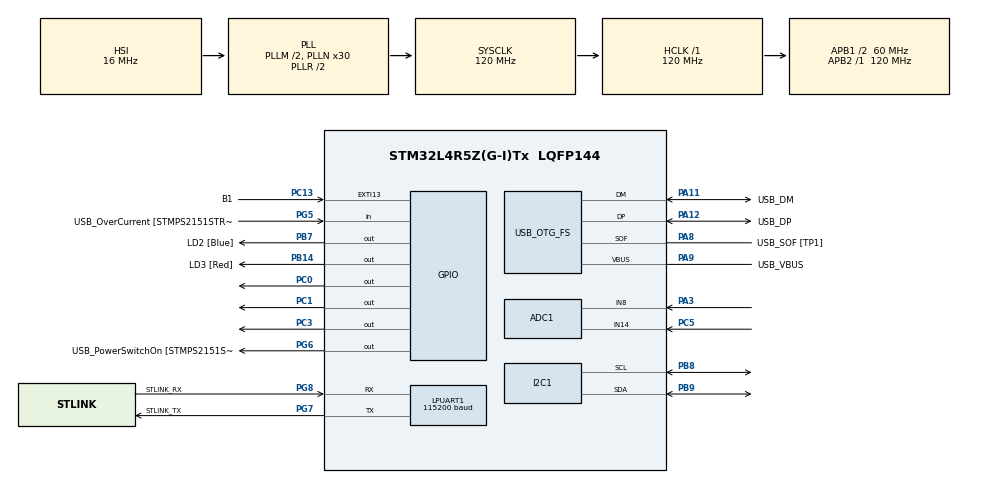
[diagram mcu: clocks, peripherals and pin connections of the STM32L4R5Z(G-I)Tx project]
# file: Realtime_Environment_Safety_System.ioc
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ADC1.Channel-0\#ChannelRegularConversion=ADC_CHANNEL_14
ADC1.Channel-1\#ChannelRegularConversion=ADC_CHANNEL_8
ADC1.ContinuousConvMode=ENABLE
ADC1.DMAContinuousRequests=DISABLE
ADC1.NbrOfConversion=2
ADC1.NbrOfConversionFlag=1
ADC1.OffsetNumber-1\#ChannelRegularConversion=ADC_OFFSET_NONE
ADC1.Rank-1\#ChannelRegularConversion=2
ADC1.SamplingTime-1\#ChannelRegularConversion=ADC_SAMPLETIME_2CYCLES_5
ADC1.master=1
FREERTOS.BinarySemaphores01=Binary_Semaphore,Dynamic,NULL
FREERTOS.INCLUDE_vTaskDelayUntil=1
FREERTOS.Tasks01=readAudioSensor,3,128,readAudioSensor_EF,Default,NULL,Dynamic,NULL,NULL;feedbackDevices,0,128,feedbackDevices_EF,Default,NULL,Dynamic,NULL,NULL;lcdOutput,0,128,lcdOutput_EF,Default,NULL,Dynamic,NULL,NULL;readUVSensor,3,128,readUVSensor_EF,Default,NULL,Dynamic,NULL,NULL
FREERTOS.configUSE_NEWLIB_REENTRANT=1
I2C1.Timing=0x107075B0
LPUART1.BaudRate=115200
LPUART1.WordLength=UART_WORDLENGTH_8B
Mcu.Family=STM32L4
Mcu.Name=STM32L4R5Z(G-I)Tx
Mcu.Package=LQFP144
NVIC.PriorityGroup=NVIC_PRIORITYGROUP_4
NVIC.TIM1_UP_TIM16_IRQn=true\:15\:0\:false\:false\:true\:false\:false\:true\:true
NVIC.TimeBase=TIM1_UP_TIM16_IRQn
NVIC.TimeBaseIP=TIM1
PA10.GPIO_Label=USB_ID
PA10.Signal=USB_OTG_FS_ID
PA11.GPIO_Label=USB_DM
PA11.Mode=Device_Only
PA11.Signal=USB_OTG_FS_DM
PA12.GPIO_Label=USB_DP
PA12.Mode=Device_Only
PA12.Signal=USB_OTG_FS_DP
PA13\ (JTMS/SWDIO).GPIO_Label=TMS
PA13\ (JTMS/SWDIO).Mode=Trace_Asynchronous_SW
PA13\ (JTMS/SWDIO).Signal=SYS_JTMS-SWDIO
PA14\ (JTCK/SWCLK).GPIO_Label=TCK
PA14\ (JTCK/SWCLK).Mode=Trace_Asynchronous_SW
PA14\ (JTCK/SWCLK).Signal=SYS_JTCK-SWCLK
PA3.Signal=ADCx_IN8
PA8.GPIO_Label=USB_SOF [TP1]
PA8.Mode=Activate_SOF_FS
PA8.Signal=USB_OTG_FS_SOF
PA9.GPIO_Label=USB_VBUS
PA9.Mode=Activate_VBUS
PA9.Signal=USB_OTG_FS_VBUS
PB14.GPIO_Label=LD3 [Red]
PB14.Signal=GPIO_Output
PB3\ (JTDO/TRACESWO).GPIO_Label=SWO
PB3\ (JTDO/TRACESWO).Mode=Trace_Asynchronous_SW
PB3\ (JTDO/TRACESWO).Signal=SYS_JTDO-SWO
PB7.GPIO_Label=LD2 [Blue]
PB7.Signal=GPIO_Output
PB8.Mode=I2C
PB8.Signal=I2C1_SCL
PB9.Mode=I2C
PB9.Signal=I2C1_SDA
PC0.Signal=GPIO_Output
PC1.Signal=GPIO_Output
PC13.GPIO_Label=B1
PC13.Signal=GPXTI13
PC14-OSC32_IN\ (PC14).Mode=LSE-External-Oscillator
PC14-OSC32_IN\ (PC14).Signal=RCC_OSC32_IN
PC15-OSC32_OUT\ (PC15).Mode=LSE-External-Oscillator
PC15-OSC32_OUT\ (PC15).Signal=RCC_OSC32_OUT
PC3.Signal=GPIO_Output
PC5.Signal=ADCx_IN14
PD8.GPIO_Label=STLK_RX [STM32F103CBT6_PA3]
PD8.Signal=USART3_TX
PD9.GPIO_Label=STLK_TX [STM32F103CBT6_PA2]
PD9.Signal=USART3_RX
PG5.GPIO_Label=USB_OverCurrent [STMPS2151STR_FAULT]
PG5.Signal=GPIO_Input
PG6.GPIO_Label=USB_PowerSwitchOn [STMPS2151STR_EN]
PG6.Signal=GPIO_Output
PG7.GPIO_Label=STLINK_TX
PG7.Mode=Asynchronous
PG7.Signal=LPUART1_TX
PG8.GPIO_Label=STLINK_RX
PG8.Mode=Asynchronous
PG8.Signal=LPUART1_RX
PH0-OSC_IN\ (PH0).Signal=RCC_OSC_IN
PH1-OSC_OUT\ (PH1).Signal=RCC_OSC_OUT
ProjectManager.HeapSize=0x200
ProjectManager.StackSize=0x400
ProjectManager.TargetToolchain=STM32CubeIDE
RCC.48MHZClocksFreq_Value=24000000
RCC.ADCFreq_Value=96000000
RCC.AHBFreq_Value=120000000
RCC.APB1CLKDivider=RCC_HCLK_DIV2
RCC.APB1Freq_Value=60000000
RCC.APB1TimFreq_Value=120000000
RCC.APB2Freq_Value=120000000
RCC.APB2TimFreq_Value=120000000
RCC.CK48CLockSelection=RCC_USBCLKSOURCE_HSI48
RCC.CortexFreq_Value=120000000
RCC.HCLKFreq_Value=120000000
RCC.HSE_VALUE=8000000
RCC.HSI48_VALUE=48000000
RCC.HSI_VALUE=16000000
RCC.MSI_VALUE=4000000
RCC.PLLM1=2
RCC.PLLMUL=RCC_PLL_MUL9
RCC.PLLN=30
RCC.PLLSAI1N=12
RCC.PLLSourceVirtual=RCC_PLLSOURCE_HSI
RCC.PRESCALERUSB=RCC_USBCLKSOURCE_PLL_DIV1_5
RCC.SYSCLKFreq_VALUE=120000000
RCC.SYSCLKSource=RCC_SYSCLKSOURCE_PLLCLK
RCC.SYSCLKSourceVirtual=RCC_SYSCLKSOURCE_PLLCLK
RCC.USBFreq_Value=48000000
RCC.VCOOutputFreq_Value=240000000
SH.ADCx_IN14.0=ADC1_IN14,IN14-Single-Ended
SH.ADCx_IN8.0=ADC1_IN8,IN8-Single-Ended
USB_OTG_FS.VirtualMode=Device_Only
VP_FREERTOS_VS_CMSIS_V1.Mode=CMSIS_V1
VP_SYS_VS_tim1.Mode=TIM1
board=NUCLEO-L4R5ZI

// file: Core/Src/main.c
/* USER CODE BEGIN Header */
/**
  ******************************************************************************
  * @author			: Christopher Saji
  * @file           : main.c
  * @brief          : Main program body
  ******************************************************************************
  * @attention
  *
  * Copyright (c) 2023 STMicroelectronics.
  * All rights reserved.
  *
  * This software is licensed under terms that can be found in the LICENSE file
  * in the root directory of this software component.
  * If no LICENSE file comes with this software, it is provided AS-IS.
  *
  ******************************************************************************
  *	@materials
  *
  *	STM32 NUCLEO-L4R5ZI
  *
  *	SparkFun Sound Detector
  *
  *	UVM-30A
  *
  *	Vibration Motor
  *
  *	2x LED
  *
  *	2x 220 OHM Resistors
  *
  *	1602 LCD Display
  *
  *	Breadboard
  *
  *	2.54mm Dupont Jumper Cables
  *
  */
/* USER CODE END Header */
#include "main.h"
#include "cmsis_os.h"
/* USER CODE BEGIN Includes */
#include <string.h>
#include <i2c-lcd.h>
#include <stdio.h>
#include <stdlib.h>
/* USER CODE END Includes */

ADC_HandleTypeDef hadc1;

I2C_HandleTypeDef hi2c1;

UART_HandleTypeDef hlpuart1;

PCD_HandleTypeDef hpcd_USB_OTG_FS;

osThreadId readAudioSensorHandle;
osThreadId feedbackDevicesHandle;
osThreadId lcdOutputHandle;
osThreadId readUVSensorHandle;
osSemaphoreId Binary_SemaphoreHandle;
/* USER CODE BEGIN PV */

uint32_t audio_raw;
uint32_t uv_raw;

uint8_t audio_str[20];
uint8_t uv_str[20];

int db_current;
int uv_current;

float uv_voltage;

/* USER CODE END PV */

void SystemClock_Config(void);
static void MX_GPIO_Init(void);
static void MX_LPUART1_UART_Init(void);
static void MX_USB_OTG_FS_PCD_Init(void);
static void MX_ADC1_Init(void);
static void MX_I2C1_Init(void);
void readAudioSensor_EF(void const * argument);
void feedbackDevices_EF(void const * argument);
void lcdOutput_EF(void const * argument);
void readUVSensor_EF(void const * argument);

/* USER CODE BEGIN PFP */

void ADC_Select_CH8(void);
void ADC_Select_CH14(void);

/* USER CODE END PFP */

int main(void)
{

  /* MCU Configuration--------------------------------------------------------*/

  /* Reset of all peripherals, Initializes the Flash interface and the Systick. */
  HAL_Init();

  /* Configure the system clock */
  SystemClock_Config();

  /* Initialize all configured peripherals */
  MX_GPIO_Init();
  MX_LPUART1_UART_Init();
  MX_USB_OTG_FS_PCD_Init();
  MX_ADC1_Init();
  MX_I2C1_Init();
  /* USER CODE BEGIN 2 */

  lcd_init();			// Initialize LCD and bring cursor to home
  lcd_clear();
  lcd_put_cur(0,0);

  HAL_ADCEx_Calibration_Start(&hadc1, ADC_SINGLE_ENDED);		// Calibrate ADC for better accuracy

  /* USER CODE END 2 */

  /* Create the semaphores(s) */
  /* definition and creation of Binary_Semaphore */
  osSemaphoreDef(Binary_Semaphore);
  Binary_SemaphoreHandle = osSemaphoreCreate(osSemaphore(Binary_Semaphore), 1);

  /* Create the thread(s) */
  /* definition and creation of readAudioSensor */
  osThreadDef(readAudioSensor, readAudioSensor_EF, osPriorityRealtime, 0, 128);
  readAudioSensorHandle = osThreadCreate(osThread(readAudioSensor), NULL);

  /* definition and creation of feedbackDevices */
  osThreadDef(feedbackDevices, feedbackDevices_EF, osPriorityNormal, 0, 128);
  feedbackDevicesHandle = osThreadCreate(osThread(feedbackDevices), NULL);

  /* definition and creation of lcdOutput */
  osThreadDef(lcdOutput, lcdOutput_EF, osPriorityNormal, 0, 128);
  lcdOutputHandle = osThreadCreate(osThread(lcdOutput), NULL);

  /* definition and creation of readUVSensor */
  osThreadDef(readUVSensor, readUVSensor_EF, osPriorityRealtime, 0, 128);
  readUVSensorHandle = osThreadCreate(osThread(readUVSensor), NULL);

  /* Start scheduler */
  osKernelStart();

  /* We should never get here as control is now taken by the scheduler */
  /* Infinite loop */
  while (1)
  {

  }
}

void SystemClock_Config(void)
{
  RCC_OscInitTypeDef RCC_OscInitStruct = {0};
  RCC_ClkInitTypeDef RCC_ClkInitStruct = {0};

  /** Configure the main internal regulator output voltage
  */
  if (HAL_PWREx_ControlVoltageScaling(PWR_REGULATOR_VOLTAGE_SCALE1_BOOST) != HAL_OK)
  {
    Error_Handler();
  }

  /** Initializes the RCC Oscillators according to the specified parameters
  * in the RCC_OscInitTypeDef structure.
  */
  RCC_OscInitStruct.OscillatorType = RCC_OSCILLATORTYPE_HSI48|RCC_OSCILLATORTYPE_HSI;
  RCC_OscInitStruct.HSIState = RCC_HSI_ON;
  RCC_OscInitStruct.HSI48State = RCC_HSI48_ON;
  RCC_OscInitStruct.HSICalibrationValue = RCC_HSICALIBRATION_DEFAULT;
  RCC_OscInitStruct.PLL.PLLState = RCC_PLL_ON;
  RCC_OscInitStruct.PLL.PLLSource = RCC_PLLSOURCE_HSI;
  RCC_OscInitStruct.PLL.PLLM = 2;
  RCC_OscInitStruct.PLL.PLLN = 30;
  RCC_OscInitStruct.PLL.PLLP = RCC_PLLP_DIV2;
  RCC_OscInitStruct.PLL.PLLQ = RCC_PLLQ_DIV2;
  RCC_OscInitStruct.PLL.PLLR = RCC_PLLR_DIV2;
  if (HAL_RCC_OscConfig(&RCC_OscInitStruct) != HAL_OK)
  {
    Error_Handler();
  }

  /** Initializes the CPU, AHB and APB buses clocks
  */
  RCC_ClkInitStruct.ClockType = RCC_CLOCKTYPE_HCLK|RCC_CLOCKTYPE_SYSCLK
                              |RCC_CLOCKTYPE_PCLK1|RCC_CLOCKTYPE_PCLK2;
  RCC_ClkInitStruct.SYSCLKSource = RCC_SYSCLKSOURCE_PLLCLK;
  RCC_ClkInitStruct.AHBCLKDivider = RCC_SYSCLK_DIV1;
  RCC_ClkInitStruct.APB1CLKDivider = RCC_HCLK_DIV2;
  RCC_ClkInitStruct.APB2CLKDivider = RCC_HCLK_DIV1;

  if (HAL_RCC_ClockConfig(&RCC_ClkInitStruct, FLASH_LATENCY_5) != HAL_OK)
  {
    Error_Handler();
  }
}

static void MX_ADC1_Init(void)
{

  ADC_ChannelConfTypeDef sConfig = {0};

  /** Common config
  */
  hadc1.Instance = ADC1;
  hadc1.Init.ClockPrescaler = ADC_CLOCK_ASYNC_DIV2;
  hadc1.Init.Resolution = ADC_RESOLUTION_12B;
  hadc1.Init.DataAlign = ADC_DATAALIGN_RIGHT;
  hadc1.Init.ScanConvMode = ADC_SCAN_ENABLE;
  hadc1.Init.EOCSelection = ADC_EOC_SINGLE_CONV;
  hadc1.Init.LowPowerAutoWait = DISABLE;
  hadc1.Init.ContinuousConvMode = ENABLE;
  hadc1.Init.NbrOfConversion = 1;
  hadc1.Init.DiscontinuousConvMode = DISABLE;
  hadc1.Init.ExternalTrigConv = ADC_SOFTWARE_START;
  hadc1.Init.ExternalTrigConvEdge = ADC_EXTERNALTRIGCONVEDGE_NONE;
  hadc1.Init.DMAContinuousRequests = DISABLE;
  hadc1.Init.Overrun = ADC_OVR_DATA_PRESERVED;
  hadc1.Init.OversamplingMode = DISABLE;
  if (HAL_ADC_Init(&hadc1) != HAL_OK)
  {
    Error_Handler();
  }

  /** Configure Regular Channel
  */
//  sConfig.Channel = ADC_CHANNEL_14;
//  sConfig.Rank = ADC_REGULAR_RANK_1;
//  sConfig.SamplingTime = ADC_SAMPLETIME_2CYCLES_5;
//  sConfig.SingleDiff = ADC_SINGLE_ENDED;
//  sConfig.OffsetNumber = ADC_OFFSET_NONE;
//  sConfig.Offset = 0;
//  if (HAL_ADC_ConfigChannel(&hadc1, &sConfig) != HAL_OK)
//  {
//    Error_Handler();
//  }
//
//  /** Configure Regular Channel
//  */
//  sConfig.Channel = ADC_CHANNEL_8;
//  sConfig.Rank = ADC_REGULAR_RANK_2;
//  if (HAL_ADC_ConfigChannel(&hadc1, &sConfig) != HAL_OK)
//  {
//    Error_Handler();
//  }
  /* USER CODE BEGIN ADC1_Init 2 */

  /*
   * Make sure to comment out the configure regular channel for both channels
   * and to change hadc1.Init.NbrOfConversion from 2 to 1. This is so the threads
   * can configure each ADC channel individually.
  */

  /* USER CODE END ADC1_Init 2 */

}

static void MX_I2C1_Init(void)
{

  hi2c1.Instance = I2C1;
  hi2c1.Init.Timing = 0x107075B0;
  hi2c1.Init.OwnAddress1 = 0;
  hi2c1.Init.AddressingMode = I2C_ADDRESSINGMODE_7BIT;
  hi2c1.Init.DualAddressMode = I2C_DUALADDRESS_DISABLE;
  hi2c1.Init.OwnAddress2 = 0;
  hi2c1.Init.OwnAddress2Masks = I2C_OA2_NOMASK;
  hi2c1.Init.GeneralCallMode = I2C_GENERALCALL_DISABLE;
  hi2c1.Init.NoStretchMode = I2C_NOSTRETCH_DISABLE;
  if (HAL_I2C_Init(&hi2c1) != HAL_OK)
  {
    Error_Handler();
  }

  /** Configure Analogue filter
  */
  if (HAL_I2CEx_ConfigAnalogFilter(&hi2c1, I2C_ANALOGFILTER_ENABLE) != HAL_OK)
  {
    Error_Handler();
  }

  /** Configure Digital filter
  */
  if (HAL_I2CEx_ConfigDigitalFilter(&hi2c1, 0) != HAL_OK)
  {
    Error_Handler();
  }

}

static void MX_LPUART1_UART_Init(void)
{

  hlpuart1.Instance = LPUART1;
  hlpuart1.Init.BaudRate = 115200;
  hlpuart1.Init.WordLength = UART_WORDLENGTH_8B;
  hlpuart1.Init.StopBits = UART_STOPBITS_1;
  hlpuart1.Init.Parity = UART_PARITY_NONE;
  hlpuart1.Init.Mode = UART_MODE_TX_RX;
  hlpuart1.Init.HwFlowCtl = UART_HWCONTROL_NONE;
  hlpuart1.Init.OneBitSampling = UART_ONE_BIT_SAMPLE_DISABLE;
  hlpuart1.Init.ClockPrescaler = UART_PRESCALER_DIV1;
  hlpuart1.AdvancedInit.AdvFeatureInit = UART_ADVFEATURE_NO_INIT;
  hlpuart1.FifoMode = UART_FIFOMODE_DISABLE;
  if (HAL_UART_Init(&hlpuart1) != HAL_OK)
  {
    Error_Handler();
  }
  if (HAL_UARTEx_SetTxFifoThreshold(&hlpuart1, UART_TXFIFO_THRESHOLD_1_8) != HAL_OK)
  {
    Error_Handler();
  }
  if (HAL_UARTEx_SetRxFifoThreshold(&hlpuart1, UART_RXFIFO_THRESHOLD_1_8) != HAL_OK)
  {
    Error_Handler();
  }
  if (HAL_UARTEx_DisableFifoMode(&hlpuart1) != HAL_OK)
  {
    Error_Handler();
  }

}

static void MX_USB_OTG_FS_PCD_Init(void)
{

  hpcd_USB_OTG_FS.Instance = USB_OTG_FS;
  hpcd_USB_OTG_FS.Init.dev_endpoints = 6;
  hpcd_USB_OTG_FS.Init.speed = PCD_SPEED_FULL;
  hpcd_USB_OTG_FS.Init.phy_itface = PCD_PHY_EMBEDDED;
  hpcd_USB_OTG_FS.Init.Sof_enable = ENABLE;
  hpcd_USB_OTG_FS.Init.low_power_enable = DISABLE;
  hpcd_USB_OTG_FS.Init.lpm_enable = DISABLE;
  hpcd_USB_OTG_FS.Init.battery_charging_enable = ENABLE;
  hpcd_USB_OTG_FS.Init.use_dedicated_ep1 = DISABLE;
  hpcd_USB_OTG_FS.Init.vbus_sensing_enable = ENABLE;
  if (HAL_PCD_Init(&hpcd_USB_OTG_FS) != HAL_OK)
  {
    Error_Handler();
  }

}

static void MX_GPIO_Init(void)
{
  GPIO_InitTypeDef GPIO_InitStruct = {0};

  /* GPIO Ports Clock Enable */
  __HAL_RCC_GPIOC_CLK_ENABLE();
  __HAL_RCC_GPIOH_CLK_ENABLE();
  __HAL_RCC_GPIOA_CLK_ENABLE();
  __HAL_RCC_GPIOB_CLK_ENABLE();
  __HAL_RCC_GPIOD_CLK_ENABLE();
  __HAL_RCC_GPIOG_CLK_ENABLE();
  HAL_PWREx_EnableVddIO2();

  /*Configure GPIO pin Output Level */
  HAL_GPIO_WritePin(GPIOC, GPIO_PIN_0|GPIO_PIN_1|GPIO_PIN_3, GPIO_PIN_RESET);

  /*Configure GPIO pin Output Level */
  HAL_GPIO_WritePin(GPIOB, LD3_Pin|LD2_Pin, GPIO_PIN_RESET);

  /*Configure GPIO pin Output Level */
  HAL_GPIO_WritePin(USB_PowerSwitchOn_GPIO_Port, USB_PowerSwitchOn_Pin, GPIO_PIN_RESET);

  /*Configure GPIO pin : B1_Pin */
  GPIO_InitStruct.Pin = B1_Pin;
  GPIO_InitStruct.Mode = GPIO_MODE_IT_RISING;
  GPIO_InitStruct.Pull = GPIO_NOPULL;
  HAL_GPIO_Init(B1_GPIO_Port, &GPIO_InitStruct);

  /*Configure GPIO pins : PC0 PC1 PC3 */
  GPIO_InitStruct.Pin = GPIO_PIN_0|GPIO_PIN_1|GPIO_PIN_3;
  GPIO_InitStruct.Mode = GPIO_MODE_OUTPUT_PP;
  GPIO_InitStruct.Pull = GPIO_NOPULL;
  GPIO_InitStruct.Speed = GPIO_SPEED_FREQ_LOW;
  HAL_GPIO_Init(GPIOC, &GPIO_InitStruct);

  /*Configure GPIO pins : LD3_Pin LD2_Pin */
  GPIO_InitStruct.Pin = LD3_Pin|LD2_Pin;
  GPIO_InitStruct.Mode = GPIO_MODE_OUTPUT_PP;
  GPIO_InitStruct.Pull = GPIO_NOPULL;
  GPIO_InitStruct.Speed = GPIO_SPEED_FREQ_LOW;
  HAL_GPIO_Init(GPIOB, &GPIO_InitStruct);

  /*Configure GPIO pins : STLK_RX_Pin STLK_TX_Pin */
  GPIO_InitStruct.Pin = STLK_RX_Pin|STLK_TX_Pin;
  GPIO_InitStruct.Mode = GPIO_MODE_AF_PP;
  GPIO_InitStruct.Pull = GPIO_NOPULL;
  GPIO_InitStruct.Speed = GPIO_SPEED_FREQ_VERY_HIGH;
  GPIO_InitStruct.Alternate = GPIO_AF7_USART3;
  HAL_GPIO_Init(GPIOD, &GPIO_InitStruct);

  /*Configure GPIO pin : USB_OverCurrent_Pin */
  GPIO_InitStruct.Pin = USB_OverCurrent_Pin;
  GPIO_InitStruct.Mode = GPIO_MODE_INPUT;
  GPIO_InitStruct.Pull = GPIO_NOPULL;
  HAL_GPIO_Init(USB_OverCurrent_GPIO_Port, &GPIO_InitStruct);

  /*Configure GPIO pin : USB_PowerSwitchOn_Pin */
  GPIO_InitStruct.Pin = USB_PowerSwitchOn_Pin;
  GPIO_InitStruct.Mode = GPIO_MODE_OUTPUT_PP;
  GPIO_InitStruct.Pull = GPIO_NOPULL;
  GPIO_InitStruct.Speed = GPIO_SPEED_FREQ_LOW;
  HAL_GPIO_Init(USB_PowerSwitchOn_GPIO_Port, &GPIO_InitStruct);

}

/* USER CODE BEGIN 4 */

void ADC_Select_CH8(void)	// Configures the ADC to use channel 8
{
	ADC_ChannelConfTypeDef sConfig = {0};
	sConfig.Channel = ADC_CHANNEL_8;
	sConfig.Rank = ADC_REGULAR_RANK_1;
	sConfig.SamplingTime = ADC_SAMPLETIME_2CYCLES_5;
	sConfig.SingleDiff = ADC_SINGLE_ENDED;
	sConfig.OffsetNumber = ADC_OFFSET_NONE;
	sConfig.Offset = 0;
	  if (HAL_ADC_ConfigChannel(&hadc1, &sConfig) != HAL_OK)
	  {
	    Error_Handler();
	  }

}

void ADC_Select_CH14(void)	// Configures the ADC to use channel 14
{
	ADC_ChannelConfTypeDef sConfig = {0};
	sConfig.Channel = ADC_CHANNEL_14;
	sConfig.Rank = ADC_REGULAR_RANK_1;
	sConfig.SamplingTime = ADC_SAMPLETIME_2CYCLES_5;
	sConfig.SingleDiff = ADC_SINGLE_ENDED;
	sConfig.OffsetNumber = ADC_OFFSET_NONE;
	sConfig.Offset = 0;
	if (HAL_ADC_ConfigChannel(&hadc1, &sConfig) != HAL_OK)
	 {
	   Error_Handler();
	 }
}

/* USER CODE END 4 */

/* USER CODE BEGIN Header_readAudioSensor_EF */
/**
  * @brief  Function implementing the readAudioSensor thread.
  * @param  argument: Not used
  * @retval None
  * @purpose This is the entry function for thread readAudioSensor. It begins
  * by acquiring if the semaphore is available. If it isn't, the thread waits until it is
  * available. If it is, it calls the custom ADC_Select_CH8 function to configure the ADC
  * to read channel 8. The thread uses polling to acquire the raw analog value. Using
  * a linear regression formula calculated before hand using an SPL meter, the thread
  * calculates the dB value. It finally stores the value into a string and releases
  * the semaphore.
  */
/* USER CODE END Header_readAudioSensor_EF */
void readAudioSensor_EF(void const * argument)
{
  /* USER CODE BEGIN 5 */
  /* Infinite loop */
  for(;;)
  {
//	  char *strtosend1 = "Entering readAudioSensor\n";
//	  HAL_UART_Transmit(&hlpuart1, (uint8_t *) strtosend1, strlen(strtosend1), HAL_MAX_DELAY);

	  osSemaphoreWait(Binary_SemaphoreHandle, osWaitForever);

	  ADC_Select_CH8();
	  HAL_ADC_Start(&hadc1);
	  HAL_ADC_PollForConversion(&hadc1, HAL_MAX_DELAY);
	  audio_raw = HAL_ADC_GetValue(&hadc1);
	  HAL_ADC_Stop(&hadc1);

	  db_current = (audio_raw * 0.0269) + 23.143;				// Calculated linear regression formula using SPL meter.
	  	  	  	  	  	  	  	  	  	  	  	  	  	  	// Took ADC readings at different dB levels.

	  snprintf(audio_str, sizeof(audio_str), "dB: %d", db_current);

//	  char *strtosend2 = "Exiting readAudioSensor\n";
//	  HAL_UART_Transmit(&hlpuart1, (uint8_t *) strtosend2, strlen(strtosend2), HAL_MAX_DELAY);

	  osSemaphoreRelease(Binary_SemaphoreHandle);

    osDelay(100);
  }
  /* USER CODE END 5 */
}

/* USER CODE BEGIN Header_feedbackDevices_EF */
/**
* @brief Function implementing the feedbackDevices thread.
* @param argument: Not used
* @retval None
* @purpose This is the entry function for the thread feedbackDevices. This thread controls the LCD
* and vibration motor that allow the user to know if the current dB and UV reading is dangerous
* respectively. If the current dB reading is higher than or equal to 85 dB, the red LED will turn
* on. Otherwise, the green LED will be illuminated. In addition to this, if the UV index is greater
* than or equal to 8, the vibration motor will begin to vibrate.
*/
/* USER CODE END Header_feedbackDevices_EF */
void feedbackDevices_EF(void const * argument)
{
  /* USER CODE BEGIN feedbackDevices_EF */
  /* Infinite loop */
  for(;;)
  {

//	  char *strtosend1 = "Entering feedbackDevices\n";
//	  HAL_UART_Transmit(&hlpuart1, (uint8_t *) strtosend1, strlen(strtosend1), HAL_MAX_DELAY);

	  if (db_current < 85){
		  HAL_GPIO_WritePin(GPIOC, GPIO_PIN_0, GPIO_PIN_SET);
		  HAL_GPIO_WritePin(GPIOC, GPIO_PIN_3, GPIO_PIN_RESET);
	  }else{
		  HAL_GPIO_WritePin(GPIOC, GPIO_PIN_0, GPIO_PIN_RESET);
		  HAL_GPIO_WritePin(GPIOC, GPIO_PIN_3, GPIO_PIN_SET);
	  }

	  if (uv_current >= 8){
		  HAL_GPIO_WritePin(GPIOC, GPIO_PIN_1, GPIO_PIN_SET);
	  }else{
		  HAL_GPIO_WritePin(GPIOC, GPIO_PIN_1, GPIO_PIN_RESET);
	  }

//	  char *strtosend2 = "Exiting feedbackDevices\n";
//	  HAL_UART_Transmit(&hlpuart1, (uint8_t *) strtosend2, strlen(strtosend2), HAL_MAX_DELAY);

    osDelay(200);
  }
  /* USER CODE END feedbackDevices_EF */
}

/* USER CODE BEGIN Header_lcdOutput_EF */
/**
* @brief Function implementing the lcdOutput thread.
* @param argument: Not used
* @retval None
* @purpose This is the entry function for the thread lcdOut. This thread controls the output of the
* LCD display. The thread begins by clearing the current information on the LCD and bringing
* the cursor back to home. It then outputs the current dB measurement to the screen. It then
* moves the cursor to the start of the next line and then displays the current UV index reading
* to the screen.
*/
/* USER CODE END Header_lcdOutput_EF */
void lcdOutput_EF(void const * argument)
{
  /* USER CODE BEGIN lcdOutput_EF */
  /* Infinite loop */
  for(;;)
  {

//	  char *strtosend1 = "Entering lcdOutputDevices\n";
//	  HAL_UART_Transmit(&hlpuart1, (uint8_t *) strtosend1, strlen(strtosend1), HAL_MAX_DELAY);

	  lcd_clear();
	  lcd_put_cur(0,0);

	  lcd_send_string(audio_str);
	  lcd_put_cur(1,0);
	  lcd_send_string(uv_str);

//	  char *strtosend2 = "Exciting lcdOutputDevices\n";
//	  HAL_UART_Transmit(&hlpuart1, (uint8_t *) strtosend2, strlen(strtosend2), HAL_MAX_DELAY);

    osDelay(200);
  }
  /* USER CODE END lcdOutput_EF */
}

/* USER CODE BEGIN Header_readUVSensor_EF */
/**
* @brief Function implementing the readUVSensor thread.
* @param argument: Not used
* @retval None
* @purpose This is the entry function for the thread readUVSensor. The thread begins by checking if the
* semaphore is available or not. If the semaphore is not available, the thread will wait for it. If the
* semaphore is available, the thread will call the custom ADC_Select_CH14 function to configure the ADC
* to read channel 14. The thread uses polling to acquire the raw analog value. The thread then converts
* the raw analog reading to the real miliVolt reading. Next, the thread then checks what the UV index
* based on the voltage calculated. Finally, the current UV index is converted to a string and the
* semaphore is released.
*/
/* USER CODE END Header_readUVSensor_EF */
void readUVSensor_EF(void const * argument)
{
  /* USER CODE BEGIN readUVSensor_EF */
  /* Infinite loop */
  for(;;)
  {
//	  char *strtosend1 = "Entering readUVSensor\n";
//	  HAL_UART_Transmit(&hlpuart1, (uint8_t *) strtosend1, strlen(strtosend1), HAL_MAX_DELAY);

	  osSemaphoreWait(Binary_SemaphoreHandle, osWaitForever);

	  ADC_Select_CH14();
	  HAL_ADC_Start(&hadc1);
	  HAL_ADC_PollForConversion(&hadc1, HAL_MAX_DELAY);
	  uv_raw = HAL_ADC_GetValue(&hadc1);
	  HAL_ADC_Stop(&hadc1);

	  uv_voltage = (uv_raw * (3.3/4095)) * 1000;

	  if (uv_voltage < 50){
		  uv_current = 0;
	  }
	  else if (uv_voltage >= 50 && uv_voltage <= 227){
		  uv_current = 1;
	  }
	  else if (uv_voltage >= 228 && uv_voltage <= 318){
		  uv_current = 2;
	  }
	  else if (uv_voltage >= 319 && uv_voltage <= 408){
		  uv_current = 3;
	  }
	  else if (uv_voltage >= 409 && uv_voltage <= 503){
		  uv_current = 4;
	  }
	  else if (uv_voltage >= 504 && uv_voltage <= 606){
		  uv_current = 5;
	  }
	  else if (uv_voltage >= 607 && uv_voltage <= 696){
		  uv_current = 6;
	  }
	  else if (uv_voltage >= 697 && uv_voltage <= 795){
		  uv_current = 7;
	  }
	  else if (uv_voltage >= 796 && uv_voltage <= 881){
		  uv_current = 8;
	  }
	  else if (uv_voltage >= 882 && uv_voltage <= 976){
		  uv_current = 9;
	  }
	  else if (uv_voltage >= 977 && uv_voltage <= 1079){
		  uv_current = 10;
	  }
	  else if (uv_voltage >= 1080){
		  uv_current = 11;
	  }

	  snprintf(uv_str, sizeof(uv_str), "UV: %d", uv_current);

//	  char *strtosend2 = "Exiting readUVSensor\n";
//	  HAL_UART_Transmit(&hlpuart1, (uint8_t *) strtosend2, strlen(strtosend2), HAL_MAX_DELAY);

	  osSemaphoreRelease(Binary_SemaphoreHandle);

    osDelay(100);
  }
  /* USER CODE END readUVSensor_EF */
}

void HAL_TIM_PeriodElapsedCallback(TIM_HandleTypeDef *htim)
{
  if (htim->Instance == TIM1) {
    HAL_IncTick();
  }
}

void Error_Handler(void)
{
  __disable_irq();
  while (1)
  {
  }
}
